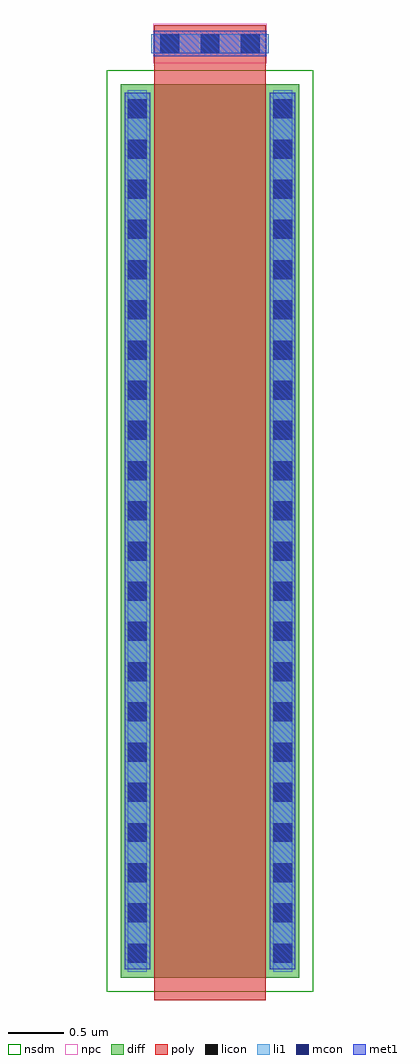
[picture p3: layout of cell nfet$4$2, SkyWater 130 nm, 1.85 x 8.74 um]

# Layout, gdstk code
import gdstk
lib = gdstk.Library(unit=1e-6, precision=1e-09)
def R(c, l, rs):  # rectangles x0, y0, x1, y1
    for r in rs: c.add(gdstk.rectangle(r[:2], r[2:], *l))
def A(c, l, x, y, w, h, nx, ny, dx, dy):  # array of equal rectangles
    R(c, l, [(x+i*dx, y+j*dy, x+i*dx+w, y+j*dy+h) for i in range(nx) for j in range(ny)])
diff = (65, 20)
poly = (66, 20)
licon = (66, 44)
li1 = (67, 20)
mcon = (67, 44)
met1 = (68, 20)
nsdm = (93, 44)
npc = (95, 20)

nfet_4_2 = lib.new_cell('nfet$4$2')
R(nfet_4_2, diff, [(0,0,1.6,8)])
R(nfet_4_2, poly, [(0.3,-0.2,1.3,8.2), (0.3,8.2,1.3,8.53)])
A(nfet_4_2, licon, 0.065, 0.135, 0.17, 0.17, 1, 22, 0, 0.36)
A(nfet_4_2, licon, 1.365, 0.135, 0.17, 0.17, 1, 22, 0, 0.36)
A(nfet_4_2, licon, 0.355, 8.28, 0.17, 0.17, 3, 1, 0.36, 0)
R(nfet_4_2, li1, [(0.065,0.055,0.235,7.945), (1.365,0.055,1.535,7.945), (0.275,8.28,1.325,8.45)])
A(nfet_4_2, mcon, 0.065, 0.135, 0.17, 0.17, 1, 22, 0, 0.36)
A(nfet_4_2, mcon, 1.365, 0.135, 0.17, 0.17, 1, 22, 0, 0.36)
A(nfet_4_2, mcon, 0.355, 8.28, 0.17, 0.17, 3, 1, 0.36, 0)
R(nfet_4_2, met1, [(0.035,0.075,0.265,7.925), (1.335,0.075,1.565,7.925), (0.295,8.25,1.305,8.48)])
R(nfet_4_2, nsdm, [(-0.125,-0.125,1.725,8.125)])
R(nfet_4_2, npc, [(0.29,8.19,1.31,8.54)])

lib.write_gds('nfet_4_2.gds')
